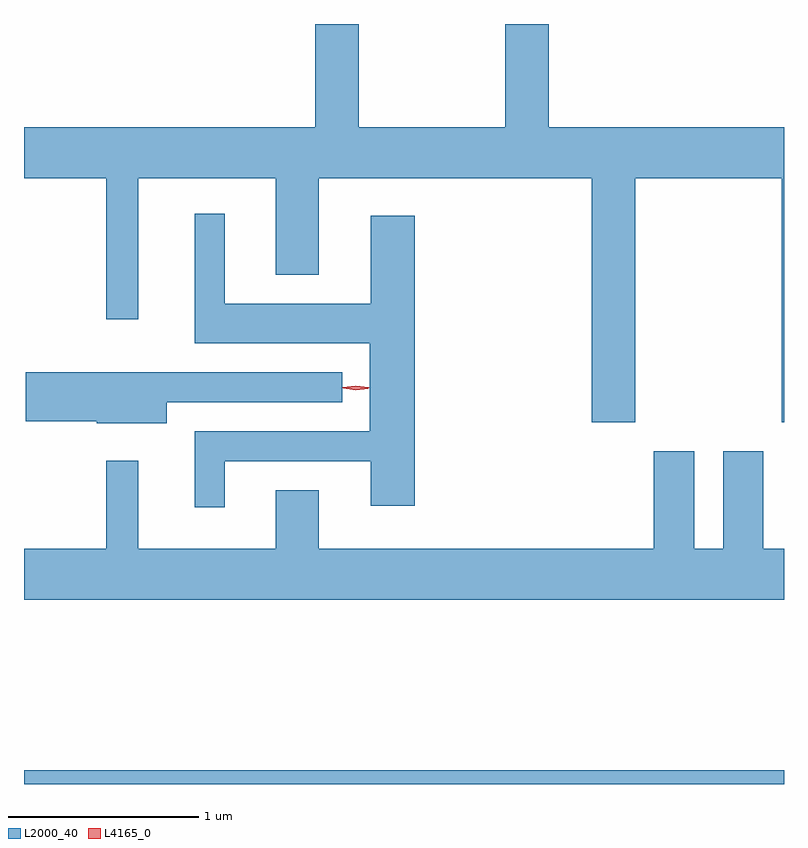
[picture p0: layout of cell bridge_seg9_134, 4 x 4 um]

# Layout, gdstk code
import gdstk
lib = gdstk.Library(unit=1e-6, precision=1e-09)
def R(c, l, rs):  # rectangles x0, y0, x1, y1
    for r in rs: c.add(gdstk.rectangle(r[:2], r[2:], *l))
def P(c, l, *ps):  # polygons
    for p in ps: c.add(gdstk.Polygon(p, *l))
L2000_40 = (2000, 40)
L4165_0 = (4165, 0)

bridge_seg9_134 = lib.new_cell('bridge_seg9_134')
R(bridge_seg9_134, L2000_40, [(1285.697,2013.047,1289.697,2013.119)])
P(bridge_seg9_134, L2000_40, [(1288.914,2016.236),(1289.686,2016.236),(1289.686,2014.951),(1289.697,2014.951),(1289.697,2016.504),(1288.459,2016.504),(1288.459,2017.047),(1288.231,2017.047),(1288.231,2016.504),(1287.459,2016.504),(1287.459,2017.047),(1287.231,2017.047),(1287.231,2016.504),(1285.697,2016.504),(1285.697,2016.236),(1286.131,2016.236),(1286.131,2015.493),(1286.299,2015.493),(1286.299,2016.236),(1287.021,2016.236),(1287.021,2015.726),(1287.249,2015.726),(1287.249,2016.236),(1288.686,2016.236),(1288.686,2014.951),(1288.914,2014.951)],
  [(1286.754,2014.746),(1287.521,2014.746),(1287.521,2014.511),(1287.754,2014.511),(1287.754,2016.039),(1287.521,2016.039),(1287.521,2015.574),(1286.754,2015.574),(1286.754,2016.048),(1286.596,2016.048),(1286.596,2015.366),(1287.516,2015.366),(1287.516,2014.904),(1286.596,2014.904),(1286.596,2014.503),(1286.754,2014.503)],
  [(1286.449,2015.056),(1287.373,2015.056),(1287.373,2015.214),(1285.706,2015.214),(1285.706,2014.956),(1286.08,2014.956),(1286.08,2014.946),(1286.449,2014.946)],
  [(1289.697,2014.284),(1289.589,2014.284),(1289.589,2014.799),(1289.376,2014.799),(1289.376,2014.284),(1289.224,2014.284),(1289.224,2014.799),(1289.011,2014.799),(1289.011,2014.284),(1287.249,2014.284),(1287.249,2014.594),(1287.021,2014.594),(1287.021,2014.284),(1286.299,2014.284),(1286.299,2014.748),(1286.131,2014.748),(1286.131,2014.284),(1285.697,2014.284),(1285.697,2014.016),(1289.697,2014.016)])
P(bridge_seg9_134, L4165_0, [(1287.443,2015.123),(1287.374,2015.133),(1287.373,2015.133),(1287.374,2015.134),(1287.443,2015.143),(1287.512,2015.134),(1287.513,2015.133),(1287.512,2015.133)],
  [(1287.443,2015.12),(1287.378,2015.131),(1287.377,2015.131),(1287.378,2015.132),(1287.444,2015.14),(1287.509,2015.129),(1287.51,2015.128),(1287.509,2015.128)])

lib.write_gds('bridge_seg9_134.gds')
